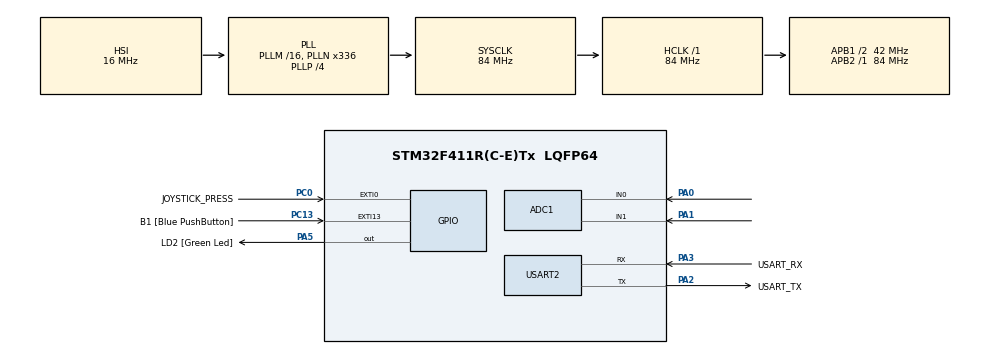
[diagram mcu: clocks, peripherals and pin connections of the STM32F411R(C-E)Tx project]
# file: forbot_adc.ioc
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ADC1.Channel-1\#ChannelRegularConversion=ADC_CHANNEL_0
ADC1.Channel-2\#ChannelRegularConversion=ADC_CHANNEL_1
ADC1.DMAContinuousRequests=ENABLE
ADC1.ExternalTrigConv=ADC_EXTERNALTRIGCONV_T3_TRGO
ADC1.NbrOfConversion=2
ADC1.NbrOfConversionFlag=1
ADC1.Rank-1\#ChannelRegularConversion=1
ADC1.Rank-2\#ChannelRegularConversion=2
ADC1.SamplingTime-1\#ChannelRegularConversion=ADC_SAMPLETIME_144CYCLES
ADC1.SamplingTime-2\#ChannelRegularConversion=ADC_SAMPLETIME_144CYCLES
ADC1.ScanConvMode=ENABLE
ADC1.master=1
Dma.ADC1.0.Direction=DMA_PERIPH_TO_MEMORY
Dma.ADC1.0.FIFOMode=DMA_FIFOMODE_DISABLE
Dma.ADC1.0.Instance=DMA2_Stream0
Dma.ADC1.0.MemDataAlignment=DMA_MDATAALIGN_HALFWORD
Dma.ADC1.0.MemInc=DMA_MINC_ENABLE
Dma.ADC1.0.Mode=DMA_CIRCULAR
Dma.ADC1.0.PeriphDataAlignment=DMA_PDATAALIGN_HALFWORD
Dma.ADC1.0.PeriphInc=DMA_PINC_DISABLE
Dma.ADC1.0.Priority=DMA_PRIORITY_LOW
Dma.Request0=ADC1
Mcu.Family=STM32F4
Mcu.Name=STM32F411R(C-E)Tx
Mcu.Package=LQFP64
NVIC.DMA2_Stream0_IRQn=true\:0\:0\:false\:false\:true\:false\:true\:true
NVIC.EXTI0_IRQn=true\:0\:4\:false\:false\:true\:true\:true\:true
NVIC.PriorityGroup=NVIC_PRIORITYGROUP_0
NVIC.TIM1_UP_TIM10_IRQn=true\:0\:5\:false\:false\:true\:true\:true\:true
PA0-WKUP.Signal=ADCx_IN0
PA1.Signal=ADCx_IN1
PA13.GPIO_Label=TMS
PA13.Mode=Serial_Wire
PA13.Signal=SYS_JTMS-SWDIO
PA14.GPIO_Label=TCK
PA14.Mode=Serial_Wire
PA14.Signal=SYS_JTCK-SWCLK
PA2.GPIO_Label=USART_TX
PA2.Mode=Asynchronous
PA2.Signal=USART2_TX
PA3.GPIO_Label=USART_RX
PA3.Mode=Asynchronous
PA3.Signal=USART2_RX
PA5.GPIO_Label=LD2 [Green Led]
PA5.Signal=GPIO_Output
PB3.GPIO_Label=SWO
PB3.Signal=SYS_JTDO-SWO
PC0.GPIO_Label=JOYSTICK_PRESS
PC0.GPIO_ModeDefaultEXTI=GPIO_MODE_IT_FALLING
PC0.GPIO_PuPd=GPIO_PULLUP
PC0.Signal=GPXTI0
PC13-ANTI_TAMP.GPIO_Label=B1 [Blue PushButton]
PC13-ANTI_TAMP.GPIO_ModeDefaultEXTI=GPIO_MODE_IT_FALLING
PC13-ANTI_TAMP.Signal=GPXTI13
PC14-OSC32_IN.Mode=LSE-External-Oscillator
PC14-OSC32_IN.Signal=RCC_OSC32_IN
PC15-OSC32_OUT.Mode=LSE-External-Oscillator
PC15-OSC32_OUT.Signal=RCC_OSC32_OUT
PH0\ -\ OSC_IN.Mode=HSE-External-Clock-Source
PH0\ -\ OSC_IN.Signal=RCC_OSC_IN
PH1\ -\ OSC_OUT.Mode=HSE-External-Clock-Source
PH1\ -\ OSC_OUT.Signal=RCC_OSC_OUT
ProjectManager.HeapSize=0x200
ProjectManager.StackSize=0x400
ProjectManager.TargetToolchain=STM32CubeIDE
RCC.48MHZClocksFreq_Value=84000000
RCC.AHBFreq_Value=84000000
RCC.APB1CLKDivider=RCC_HCLK_DIV2
RCC.APB1Freq_Value=42000000
RCC.APB1TimFreq_Value=84000000
RCC.APB2Freq_Value=84000000
RCC.APB2TimFreq_Value=84000000
RCC.CortexFreq_Value=84000000
RCC.FLatency-AdvancedSettings=FLASH_LATENCY_2
RCC.HCLKFreq_Value=84000000
RCC.HSE_VALUE=8000000
RCC.HSI_VALUE=16000000
RCC.PLLN=336
RCC.PLLP=RCC_PLLP_DIV4
RCC.SYSCLKFreq_VALUE=84000000
RCC.SYSCLKSource=RCC_SYSCLKSOURCE_PLLCLK
RCC.VCOOutputFreq_Value=336000000
SH.ADCx_IN0.0=ADC1_IN0,IN0
SH.ADCx_IN1.0=ADC1_IN1,IN1
TIM10.Period=150-1
TIM10.Prescaler=8400-1
TIM3.Period=100-1
TIM3.Prescaler=8400-1
TIM3.TIM_MasterOutputTrigger=TIM_TRGO_UPDATE
USART2.VirtualMode=VM_ASYNC
VP_TIM10_VS_ClockSourceINT.Mode=Enable_Timer
VP_TIM3_VS_ClockSourceINT.Mode=Internal
board=NUCLEO-F411RE

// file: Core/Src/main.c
/* USER CODE BEGIN Header */
/**
 ******************************************************************************
 * @file           : main.c
 * @brief          : Main program body
 ******************************************************************************
 * @attention
 *
 * Copyright (c) 2025 STMicroelectronics.
 * All rights reserved.
 *
 * This software is licensed under terms that can be found in the LICENSE file
 * in the root directory of this software component.
 * If no LICENSE file comes with this software, it is provided AS-IS.
 *
 ******************************************************************************
 */
/* USER CODE END Header */
#include "main.h"

/* USER CODE BEGIN Includes */
#include <stdio.h>

/* USER CODE END Includes */

ADC_HandleTypeDef hadc1;
DMA_HandleTypeDef hdma_adc1;

TIM_HandleTypeDef htim3;
TIM_HandleTypeDef htim10;

UART_HandleTypeDef huart2;

/* USER CODE BEGIN PV */
volatile uint16_t adc_value[2];

volatile uint8_t JS_SW_PRESS = 0;
volatile uint8_t PRINT_ADC_VALUES = 0;

uint32_t current_time = 0;
uint32_t last_time = 0;

const uint16_t SW_transmit = 0xFFFE;
const uint16_t DATA_transmit = 0xFFFF;
/* USER CODE END PV */

void SystemClock_Config(void);
static void MX_GPIO_Init(void);
static void MX_DMA_Init(void);
static void MX_USART2_UART_Init(void);
static void MX_ADC1_Init(void);
static void MX_TIM3_Init(void);
static void MX_TIM10_Init(void);
/* USER CODE BEGIN PFP */

int __io_putchar(int ch)
{
	if (ch == '\n') {
		__io_putchar('\r');
	}
	HAL_UART_Transmit(&huart2, (uint8_t*)&ch, 1, HAL_MAX_DELAY);
	return 1;
}

/* USER CODE END PFP */

/* USER CODE BEGIN 0 */
void HAL_GPIO_EXTI_Callback(uint16_t GPIO_Pin) {
	if (GPIO_Pin == JOYSTICK_PRESS_Pin) {
		last_time = current_time;
		current_time = HAL_GetTick();

		if (current_time - last_time > 50) {
			JS_SW_PRESS = 1;
		}
	}
}

void HAL_TIM_PeriodElapsedCallback(TIM_HandleTypeDef *htim) {
	if (htim == &htim10) {
		PRINT_ADC_VALUES = 1;
	}
}
/* USER CODE END 0 */

int main(void)
{

  /* MCU Configuration--------------------------------------------------------*/

  /* Reset of all peripherals, Initializes the Flash interface and the Systick. */
  HAL_Init();

  /* Configure the system clock */
  SystemClock_Config();

  /* Initialize all configured peripherals */
  MX_GPIO_Init();
  MX_DMA_Init();
  MX_USART2_UART_Init();
  MX_ADC1_Init();
  MX_TIM3_Init();
  MX_TIM10_Init();

  /* Infinite loop */
  /* USER CODE BEGIN WHILE */
	HAL_TIM_Base_Start(&htim3);
	HAL_TIM_Base_Start_IT(&htim10);
	HAL_ADC_Start_DMA(&hadc1, (uint32_t*)adc_value, 2);

	while (1)
	{
		if (PRINT_ADC_VALUES == 1) {
			HAL_UART_Transmit(&huart2, (uint8_t *)&DATA_transmit, 2, HAL_MAX_DELAY);
			HAL_UART_Transmit(&huart2, (uint8_t *)adc_value, 4, HAL_MAX_DELAY);
			PRINT_ADC_VALUES = 0;
		}

		if (JS_SW_PRESS == 1) {
			HAL_UART_Transmit(&huart2, (uint8_t *)&SW_transmit, 2, HAL_MAX_DELAY);
			JS_SW_PRESS = 0;
		}

    /* USER CODE END WHILE */

	}
}

void SystemClock_Config(void)
{
  RCC_OscInitTypeDef RCC_OscInitStruct = {0};
  RCC_ClkInitTypeDef RCC_ClkInitStruct = {0};

  /** Configure the main internal regulator output voltage
  */
  __HAL_RCC_PWR_CLK_ENABLE();
  __HAL_PWR_VOLTAGESCALING_CONFIG(PWR_REGULATOR_VOLTAGE_SCALE1);

  /** Initializes the RCC Oscillators according to the specified parameters
  * in the RCC_OscInitTypeDef structure.
  */
  RCC_OscInitStruct.OscillatorType = RCC_OSCILLATORTYPE_HSI;
  RCC_OscInitStruct.HSIState = RCC_HSI_ON;
  RCC_OscInitStruct.HSICalibrationValue = RCC_HSICALIBRATION_DEFAULT;
  RCC_OscInitStruct.PLL.PLLState = RCC_PLL_ON;
  RCC_OscInitStruct.PLL.PLLSource = RCC_PLLSOURCE_HSI;
  RCC_OscInitStruct.PLL.PLLM = 16;
  RCC_OscInitStruct.PLL.PLLN = 336;
  RCC_OscInitStruct.PLL.PLLP = RCC_PLLP_DIV4;
  RCC_OscInitStruct.PLL.PLLQ = 4;
  if (HAL_RCC_OscConfig(&RCC_OscInitStruct) != HAL_OK)
  {
    Error_Handler();
  }

  /** Initializes the CPU, AHB and APB buses clocks
  */
  RCC_ClkInitStruct.ClockType = RCC_CLOCKTYPE_HCLK|RCC_CLOCKTYPE_SYSCLK
                              |RCC_CLOCKTYPE_PCLK1|RCC_CLOCKTYPE_PCLK2;
  RCC_ClkInitStruct.SYSCLKSource = RCC_SYSCLKSOURCE_PLLCLK;
  RCC_ClkInitStruct.AHBCLKDivider = RCC_SYSCLK_DIV1;
  RCC_ClkInitStruct.APB1CLKDivider = RCC_HCLK_DIV2;
  RCC_ClkInitStruct.APB2CLKDivider = RCC_HCLK_DIV1;

  if (HAL_RCC_ClockConfig(&RCC_ClkInitStruct, FLASH_LATENCY_2) != HAL_OK)
  {
    Error_Handler();
  }
}

static void MX_ADC1_Init(void)
{

  ADC_ChannelConfTypeDef sConfig = {0};

  /** Configure the global features of the ADC (Clock, Resolution, Data Alignment and number of conversion)
  */
  hadc1.Instance = ADC1;
  hadc1.Init.ClockPrescaler = ADC_CLOCK_SYNC_PCLK_DIV4;
  hadc1.Init.Resolution = ADC_RESOLUTION_12B;
  hadc1.Init.ScanConvMode = ENABLE;
  hadc1.Init.ContinuousConvMode = DISABLE;
  hadc1.Init.DiscontinuousConvMode = DISABLE;
  hadc1.Init.ExternalTrigConvEdge = ADC_EXTERNALTRIGCONVEDGE_RISING;
  hadc1.Init.ExternalTrigConv = ADC_EXTERNALTRIGCONV_T3_TRGO;
  hadc1.Init.DataAlign = ADC_DATAALIGN_RIGHT;
  hadc1.Init.NbrOfConversion = 2;
  hadc1.Init.DMAContinuousRequests = ENABLE;
  hadc1.Init.EOCSelection = ADC_EOC_SINGLE_CONV;
  if (HAL_ADC_Init(&hadc1) != HAL_OK)
  {
    Error_Handler();
  }

  /** Configure for the selected ADC regular channel its corresponding rank in the sequencer and its sample time.
  */
  sConfig.Channel = ADC_CHANNEL_0;
  sConfig.Rank = 1;
  sConfig.SamplingTime = ADC_SAMPLETIME_144CYCLES;
  if (HAL_ADC_ConfigChannel(&hadc1, &sConfig) != HAL_OK)
  {
    Error_Handler();
  }

  /** Configure for the selected ADC regular channel its corresponding rank in the sequencer and its sample time.
  */
  sConfig.Channel = ADC_CHANNEL_1;
  sConfig.Rank = 2;
  if (HAL_ADC_ConfigChannel(&hadc1, &sConfig) != HAL_OK)
  {
    Error_Handler();
  }

}

static void MX_TIM3_Init(void)
{

  TIM_ClockConfigTypeDef sClockSourceConfig = {0};
  TIM_MasterConfigTypeDef sMasterConfig = {0};

  htim3.Instance = TIM3;
  htim3.Init.Prescaler = 8400-1;
  htim3.Init.CounterMode = TIM_COUNTERMODE_UP;
  htim3.Init.Period = 100-1;
  htim3.Init.ClockDivision = TIM_CLOCKDIVISION_DIV1;
  htim3.Init.AutoReloadPreload = TIM_AUTORELOAD_PRELOAD_DISABLE;
  if (HAL_TIM_Base_Init(&htim3) != HAL_OK)
  {
    Error_Handler();
  }
  sClockSourceConfig.ClockSource = TIM_CLOCKSOURCE_INTERNAL;
  if (HAL_TIM_ConfigClockSource(&htim3, &sClockSourceConfig) != HAL_OK)
  {
    Error_Handler();
  }
  sMasterConfig.MasterOutputTrigger = TIM_TRGO_UPDATE;
  sMasterConfig.MasterSlaveMode = TIM_MASTERSLAVEMODE_DISABLE;
  if (HAL_TIMEx_MasterConfigSynchronization(&htim3, &sMasterConfig) != HAL_OK)
  {
    Error_Handler();
  }

}

static void MX_TIM10_Init(void)
{

  htim10.Instance = TIM10;
  htim10.Init.Prescaler = 8400-1;
  htim10.Init.CounterMode = TIM_COUNTERMODE_UP;
  htim10.Init.Period = 150-1;
  htim10.Init.ClockDivision = TIM_CLOCKDIVISION_DIV1;
  htim10.Init.AutoReloadPreload = TIM_AUTORELOAD_PRELOAD_DISABLE;
  if (HAL_TIM_Base_Init(&htim10) != HAL_OK)
  {
    Error_Handler();
  }

}

static void MX_USART2_UART_Init(void)
{

  huart2.Instance = USART2;
  huart2.Init.BaudRate = 115200;
  huart2.Init.WordLength = UART_WORDLENGTH_8B;
  huart2.Init.StopBits = UART_STOPBITS_1;
  huart2.Init.Parity = UART_PARITY_NONE;
  huart2.Init.Mode = UART_MODE_TX_RX;
  huart2.Init.HwFlowCtl = UART_HWCONTROL_NONE;
  huart2.Init.OverSampling = UART_OVERSAMPLING_16;
  if (HAL_UART_Init(&huart2) != HAL_OK)
  {
    Error_Handler();
  }

}

static void MX_DMA_Init(void)
{

  /* DMA controller clock enable */
  __HAL_RCC_DMA2_CLK_ENABLE();

  /* DMA interrupt init */
  /* DMA2_Stream0_IRQn interrupt configuration */
  HAL_NVIC_SetPriority(DMA2_Stream0_IRQn, 0, 0);
  HAL_NVIC_EnableIRQ(DMA2_Stream0_IRQn);

}

static void MX_GPIO_Init(void)
{
  GPIO_InitTypeDef GPIO_InitStruct = {0};

  /* GPIO Ports Clock Enable */
  __HAL_RCC_GPIOC_CLK_ENABLE();
  __HAL_RCC_GPIOH_CLK_ENABLE();
  __HAL_RCC_GPIOA_CLK_ENABLE();
  __HAL_RCC_GPIOB_CLK_ENABLE();

  /*Configure GPIO pin Output Level */
  HAL_GPIO_WritePin(LD2_GPIO_Port, LD2_Pin, GPIO_PIN_RESET);

  /*Configure GPIO pin : B1_Pin */
  GPIO_InitStruct.Pin = B1_Pin;
  GPIO_InitStruct.Mode = GPIO_MODE_IT_FALLING;
  GPIO_InitStruct.Pull = GPIO_NOPULL;
  HAL_GPIO_Init(B1_GPIO_Port, &GPIO_InitStruct);

  /*Configure GPIO pin : JOYSTICK_PRESS_Pin */
  GPIO_InitStruct.Pin = JOYSTICK_PRESS_Pin;
  GPIO_InitStruct.Mode = GPIO_MODE_IT_FALLING;
  GPIO_InitStruct.Pull = GPIO_PULLUP;
  HAL_GPIO_Init(JOYSTICK_PRESS_GPIO_Port, &GPIO_InitStruct);

  /*Configure GPIO pin : LD2_Pin */
  GPIO_InitStruct.Pin = LD2_Pin;
  GPIO_InitStruct.Mode = GPIO_MODE_OUTPUT_PP;
  GPIO_InitStruct.Pull = GPIO_NOPULL;
  GPIO_InitStruct.Speed = GPIO_SPEED_FREQ_LOW;
  HAL_GPIO_Init(LD2_GPIO_Port, &GPIO_InitStruct);

  /* EXTI interrupt init*/
  HAL_NVIC_SetPriority(EXTI0_IRQn, 0, 4);
  HAL_NVIC_EnableIRQ(EXTI0_IRQn);

}

void Error_Handler(void)
{
	__disable_irq();
	while (1)
	{
	}
}
